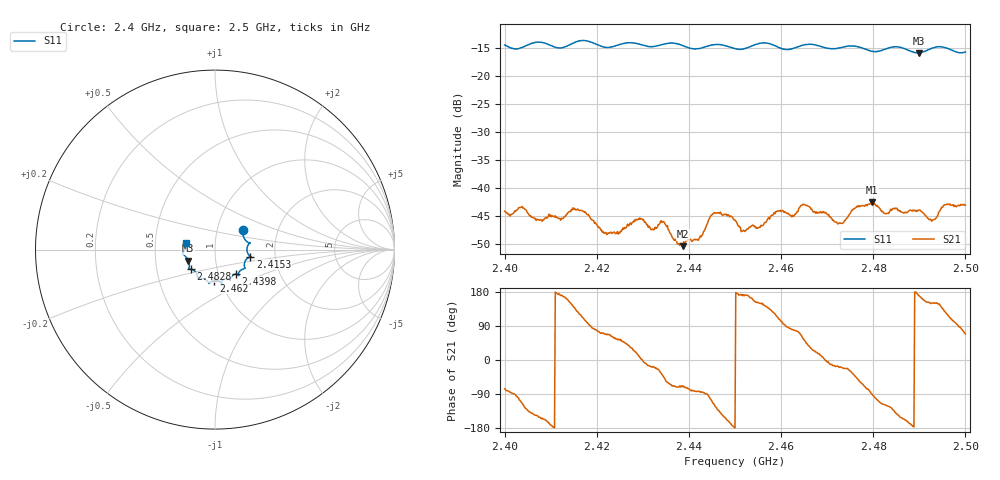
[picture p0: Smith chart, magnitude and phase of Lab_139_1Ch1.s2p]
# Hz S RI R 50
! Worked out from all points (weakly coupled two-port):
!   601 points, 2.4 GHz to 2.5 GHz, reference 50 ohm
!   highest |S21| = -42.52 dB at 2.4797 GHz (marker M1); lowest = -50.3 dB at 2.4387 GHz (marker M2)
!   lowest |S11| = -15.9 dB at 2.4898 GHz (marker M3), VSWR 1.38, Z = 36.8 - j4.63 ohm
!   |S11| at or under -10 dB: start of sweep to end of sweep
!   S12 and S22 are empty: the file has one direction only
!   S11 on the Smith chart (normalised r, x): 2.4 GHz: 1.33, +0.30; 2.4153 GHz: 1.48, -0.12; 2.4398 GHz: 1.21, -0.34; 2.462 GHz: 0.93, -0.33; 2.4828 GHz: 0.74, -0.17; 2.5 GHz: 0.72, +0.06
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2.4e9  0.1556 0.1071  0.00152 -0.00606  0 0  0 0
2.408e9  0.1959 0.0371  -0.00473 -0.00218  0 0  0 0
2.415333e9  0.1962 -0.0385  -0.00458 0.00461  0 0  0 0
2.416667e9  0.2024 -0.0425  -0.00277 0.00571  0 0  0 0
2.422e9  0.1679 -0.0639  0.00153 0.00374  0 0  0 0
2.433333e9  0.1306 -0.1334  0.00433 -0.00197  0 0  0 0
2.438667e9  0.1253 -0.1379  0.00114 -0.00284  0 0  0 0
2.439833e9  0.1159 -0.1359  0.000875 -0.00339  0 0  0 0
2.4425e9  0.0919 -0.1505  0.000321 -0.00375  0 0  0 0
2.445333e9  0.0845 -0.1699  -0.00248 -0.0054  0 0  0 0
2.45e9  0.065 -0.1626  -0.00523 -6.55e-05  0 0  0 0
2.451833e9  0.0455 -0.1679  -0.0042 0.000574  0 0  0 0
2.462e9  -0.00495 -0.1729  0.000692 0.00575  0 0  0 0
2.466667e9  -0.0342 -0.1881  0.00574 0.0031  0 0  0 0
2.472833e9  -0.0788 -0.16  0.00463 -0.00152  0 0  0 0
2.479667e9  -0.1071 -0.1269  0.000186 -0.00748  0 0  0 0
2.482833e9  -0.1363 -0.1094  -0.00298 -0.00514  0 0  0 0
2.483333e9  -0.1401 -0.1091  -0.00315 -0.00507  0 0  0 0
2.489833e9  -0.1484 -0.0612  -0.00632 0.00106  0 0  0 0
2.493e9  -0.1762 -0.0268  -0.00453 0.00261  0 0  0 0
2.495667e9  -0.1778 -0.0168  -0.00423 0.00576  0 0  0 0
2.5e9  -0.159 0.0389  0.00257 0.00661  0 0  0 0
